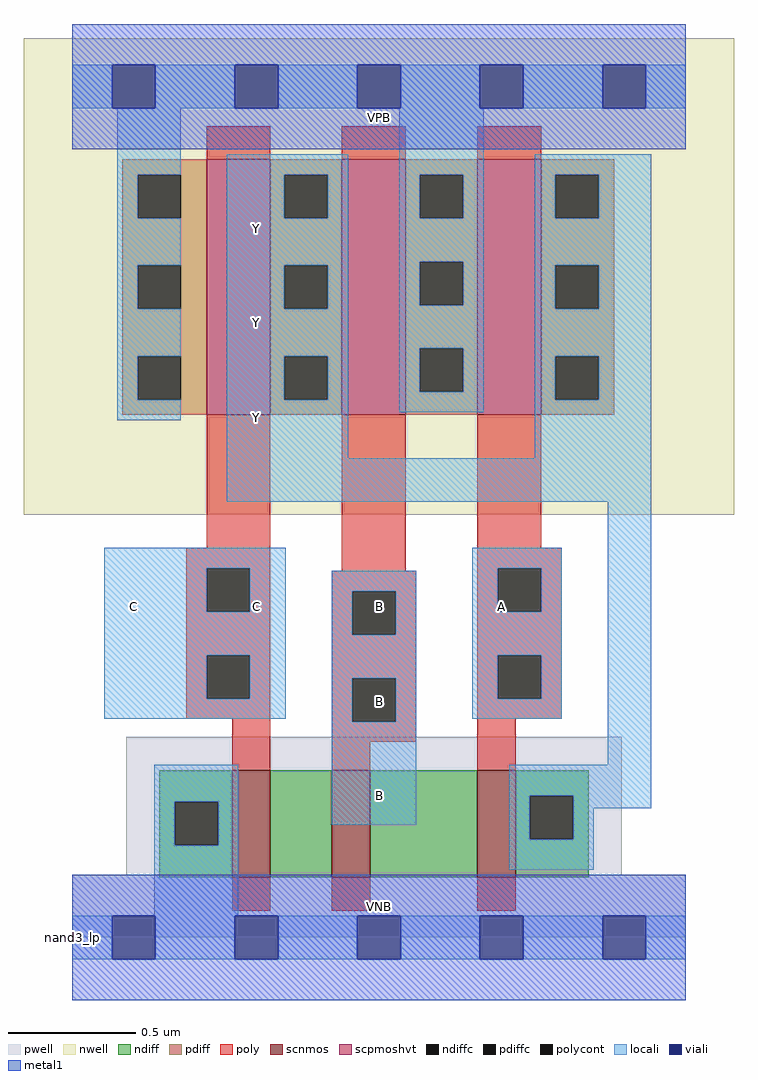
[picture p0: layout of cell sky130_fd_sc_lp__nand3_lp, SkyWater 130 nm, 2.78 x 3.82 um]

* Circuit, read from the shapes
.subckt sky130_fd_sc_lp__nand3_lp A B C VGND VNB VPB VPWR Y
XM1 n1 C VGND VNB sky130_fd_pr__nfet_01v8 w=0.42 l=0.15
XM2 n2 B n1 VNB sky130_fd_pr__nfet_01v8 w=0.42 l=0.15
XM3 Y A n2 VNB sky130_fd_pr__nfet_01v8 w=0.42 l=0.15
XM4 Y C VPWR VPB sky130_fd_pr__pfet_01v8_hvt w=1 l=0.25
XM5 VPWR B Y VPB sky130_fd_pr__pfet_01v8_hvt w=1 l=0.25
XM6 Y A VPWR VPB sky130_fd_pr__pfet_01v8_hvt w=1 l=0.25
.ends

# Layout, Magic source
magic
tech sky130A
magscale 1 2
<< nwell >>
rect -38 331 518 704
<< pwell >>
rect 42 49 430 157
rect 0 0 480 49
<< scnmos >>
rect 125 47 155 131
rect 203 47 233 131
rect 317 47 347 131
<< scpmoshvt >>
rect 105 409 155 609
rect 211 409 261 609
rect 317 409 367 609
<< ndiff >>
rect 68 106 125 131
rect 68 72 80 106
rect 114 72 125 106
rect 68 47 125 72
rect 155 47 203 131
rect 233 47 317 131
rect 347 111 404 131
rect 347 77 358 111
rect 392 77 404 111
rect 347 47 404 77
<< pdiff >>
rect 39 597 105 609
rect 39 563 51 597
rect 85 563 105 597
rect 39 526 105 563
rect 39 492 51 526
rect 85 492 105 526
rect 39 455 105 492
rect 39 421 51 455
rect 85 421 105 455
rect 39 409 105 421
rect 155 597 211 609
rect 155 563 166 597
rect 200 563 211 597
rect 155 526 211 563
rect 155 492 166 526
rect 200 492 211 526
rect 155 455 211 492
rect 155 421 166 455
rect 200 421 211 455
rect 155 409 211 421
rect 261 597 317 609
rect 261 563 272 597
rect 306 563 317 597
rect 261 529 317 563
rect 261 495 272 529
rect 306 495 317 529
rect 261 461 317 495
rect 261 427 272 461
rect 306 427 317 461
rect 261 409 317 427
rect 367 597 424 609
rect 367 563 378 597
rect 412 563 424 597
rect 367 526 424 563
rect 367 492 378 526
rect 412 492 424 526
rect 367 455 424 492
rect 367 421 378 455
rect 412 421 424 455
rect 367 409 424 421
<< ndiffc >>
rect 80 72 114 106
rect 358 77 392 111
<< pdiffc >>
rect 51 563 85 597
rect 51 492 85 526
rect 51 421 85 455
rect 166 563 200 597
rect 166 492 200 526
rect 166 421 200 455
rect 272 563 306 597
rect 272 495 306 529
rect 272 427 306 461
rect 378 563 412 597
rect 378 492 412 526
rect 378 421 412 455
<< poly >>
rect 105 609 155 635
rect 211 609 261 635
rect 317 609 367 635
rect 105 305 155 409
rect 89 289 155 305
rect 89 255 105 289
rect 139 255 155 289
rect 211 287 261 409
rect 317 305 367 409
rect 317 289 383 305
rect 89 221 155 255
rect 89 187 105 221
rect 139 187 155 221
rect 89 171 155 187
rect 125 131 155 171
rect 203 271 269 287
rect 203 237 219 271
rect 253 237 269 271
rect 203 203 269 237
rect 203 169 219 203
rect 253 169 269 203
rect 203 153 269 169
rect 317 255 333 289
rect 367 255 383 289
rect 317 221 383 255
rect 317 187 333 221
rect 367 187 383 221
rect 317 171 383 187
rect 203 131 233 153
rect 317 131 347 171
rect 125 21 155 47
rect 203 21 233 47
rect 317 21 347 47
<< polycont >>
rect 105 255 139 289
rect 105 187 139 221
rect 219 237 253 271
rect 219 169 253 203
rect 333 255 367 289
rect 333 187 367 221
<< locali >>
rect 0 649 31 683
rect 65 649 127 683
rect 161 649 223 683
rect 257 649 319 683
rect 353 649 415 683
rect 449 649 480 683
rect 35 597 85 649
rect 35 563 51 597
rect 35 526 85 563
rect 35 492 51 526
rect 35 455 85 492
rect 35 421 51 455
rect 35 405 85 421
rect 121 597 216 613
rect 121 563 166 597
rect 200 563 216 597
rect 121 526 216 563
rect 121 492 166 526
rect 200 492 216 526
rect 121 455 216 492
rect 121 421 166 455
rect 200 421 216 455
rect 121 375 216 421
rect 256 597 322 649
rect 256 563 272 597
rect 306 563 322 597
rect 256 529 322 563
rect 256 495 272 529
rect 306 495 322 529
rect 256 461 322 495
rect 256 427 272 461
rect 306 427 322 461
rect 256 411 322 427
rect 362 597 453 613
rect 362 563 378 597
rect 412 563 453 597
rect 362 526 453 563
rect 362 492 378 526
rect 412 492 453 526
rect 362 455 453 492
rect 362 421 378 455
rect 412 421 453 455
rect 362 375 453 421
rect 121 341 453 375
rect 25 289 167 305
rect 25 255 105 289
rect 139 255 167 289
rect 313 289 383 305
rect 25 221 167 255
rect 25 187 105 221
rect 139 187 167 221
rect 25 171 167 187
rect 203 271 269 287
rect 203 237 219 271
rect 253 237 269 271
rect 203 203 269 237
rect 203 169 219 203
rect 253 169 269 203
rect 313 255 333 289
rect 367 255 383 289
rect 313 221 383 255
rect 313 187 333 221
rect 367 187 383 221
rect 313 171 383 187
rect 64 106 130 135
rect 64 72 80 106
rect 114 72 130 106
rect 203 88 269 169
rect 419 135 453 341
rect 342 111 453 135
rect 64 17 130 72
rect 342 77 358 111
rect 392 101 453 111
rect 392 77 408 101
rect 342 53 408 77
rect 0 -17 31 17
rect 65 -17 127 17
rect 161 -17 223 17
rect 257 -17 319 17
rect 353 -17 415 17
rect 449 -17 480 17
<< viali >>
rect 31 649 65 683
rect 127 649 161 683
rect 223 649 257 683
rect 319 649 353 683
rect 415 649 449 683
rect 31 -17 65 17
rect 127 -17 161 17
rect 223 -17 257 17
rect 319 -17 353 17
rect 415 -17 449 17
<< metal1 >>
rect 0 683 480 715
rect 0 649 31 683
rect 65 649 127 683
rect 161 649 223 683
rect 257 649 319 683
rect 353 649 415 683
rect 449 649 480 683
rect 0 617 480 649
rect 0 17 480 49
rect 0 -17 31 17
rect 65 -17 127 17
rect 161 -17 223 17
rect 257 -17 319 17
rect 353 -17 415 17
rect 449 -17 480 17
rect 0 -49 480 -17
<< labels >>
flabel pwell s 0 0 480 49 0 FreeSans 200 0 0 0 VNB
port 5 nsew ground bidirectional
flabel nwell s 0 617 480 666 0 FreeSans 200 0 0 0 VPB
port 6 nsew power bidirectional
rlabel comment s 0 0 0 0 4 nand3_lp
flabel metal1 s 0 617 480 666 0 FreeSans 340 0 0 0 VPWR
port 7 nsew power bidirectional
flabel metal1 s 0 0 480 49 0 FreeSans 340 0 0 0 VGND
port 4 nsew ground bidirectional
flabel locali s 127 390 161 424 0 FreeSans 340 0 0 0 Y
port 8 nsew signal output
flabel locali s 127 464 161 498 0 FreeSans 340 0 0 0 Y
port 8 nsew signal output
flabel locali s 127 538 161 572 0 FreeSans 340 0 0 0 Y
port 8 nsew signal output
flabel locali s 319 242 353 276 0 FreeSans 340 0 0 0 A
port 1 nsew signal input
flabel locali s 31 242 65 276 0 FreeSans 340 0 0 0 C
port 3 nsew signal input
flabel locali s 127 242 161 276 0 FreeSans 340 0 0 0 C
port 3 nsew signal input
flabel locali s 223 94 257 128 0 FreeSans 340 0 0 0 B
port 2 nsew signal input
flabel locali s 223 168 257 202 0 FreeSans 340 0 0 0 B
port 2 nsew signal input
flabel locali s 223 242 257 276 0 FreeSans 340 0 0 0 B
port 2 nsew signal input
<< properties >>
string LEFsite unit
string LEFclass CORE
string FIXED_BBOX 0 0 480 666
string GDS_FILE $PDKPATH/libs.ref/sky130_fd_sc_lp/gds/sky130_fd_sc_lp.gds
string LEFsymmetry X Y R90
string GDS_END 417276
string GDS_START 412000
<< end >>
